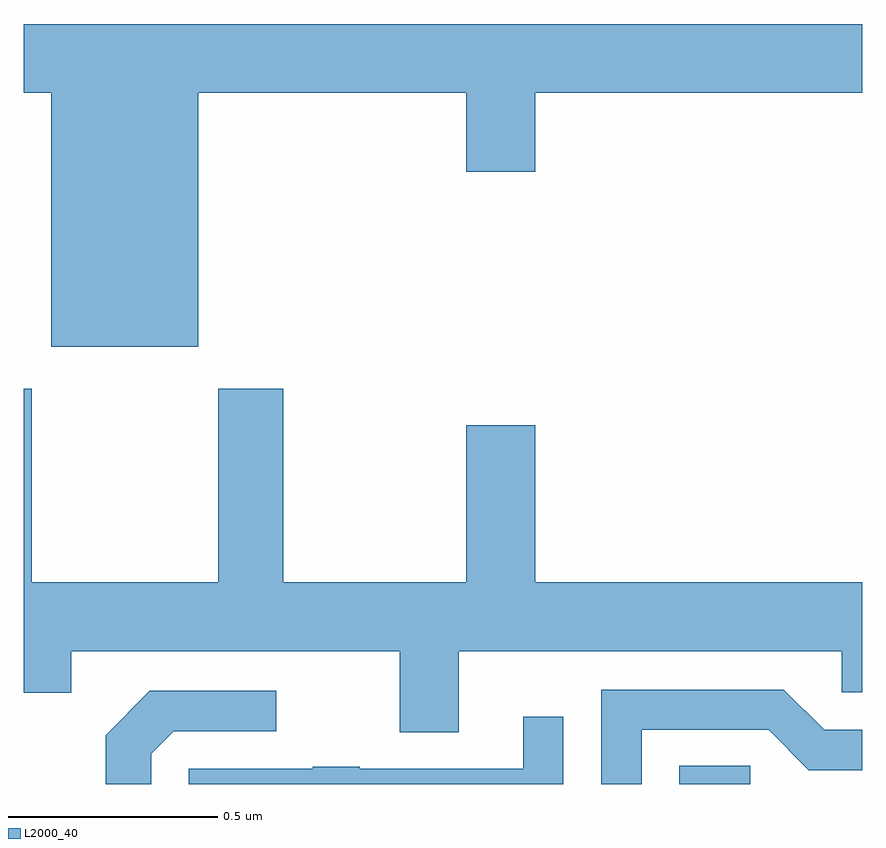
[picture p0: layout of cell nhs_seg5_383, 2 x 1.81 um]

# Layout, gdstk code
import gdstk
lib = gdstk.Library(unit=1e-6, precision=1e-09)
def R(c, l, rs):  # rectangles x0, y0, x1, y1
    for r in rs: c.add(gdstk.rectangle(r[:2], r[2:], *l))
def P(c, l, *ps):  # polygons
    for p in ps: c.add(gdstk.Polygon(p, *l))
L2000_40 = (2000, 40)

nhs_seg5_383 = lib.new_cell('nhs_seg5_383')
R(nhs_seg5_383, L2000_40, [(117.564,833.799,117.733,833.843)])
P(nhs_seg5_383, L2000_40, [(116.416,835.448),(117.056,835.448),(117.056,835.26),(117.22,835.26),(117.22,835.448),(118,835.448),(118,835.612),(116,835.612),(116,835.448),(116.066,835.448),(116.066,834.842),(116.416,834.842)],
  [(117.037,834.116),(117.951,834.116),(117.951,834.018),(118,834.018),(118,834.28),(117.22,834.28),(117.22,834.655),(117.056,834.655),(117.056,834.28),(116.619,834.28),(116.619,834.742),(116.464,834.742),(116.464,834.28),(116.019,834.28),(116.019,834.742),(116,834.742),(116,834.017),(116.113,834.017),(116.113,834.116),(116.897,834.116),(116.897,833.922),(117.037,833.922)],
  [(117.474,833.928),(117.777,833.928),(117.873,833.832),(118,833.832),(118,833.928),(117.909,833.928),(117.813,834.024),(117.378,834.024),(117.378,833.799),(117.474,833.799)],
  [(116.304,833.871),(116.358,833.925),(116.602,833.925),(116.602,834.021),(116.301,834.021),(116.196,833.915),(116.196,833.799),(116.304,833.799)],
  [(117.287,833.959),(117.191,833.959),(117.191,833.835),(116.801,833.835),(116.801,833.84),(116.689,833.84),(116.689,833.835),(116.394,833.835),(116.394,833.799),(117.287,833.799)])

lib.write_gds('nhs_seg5_383.gds')
